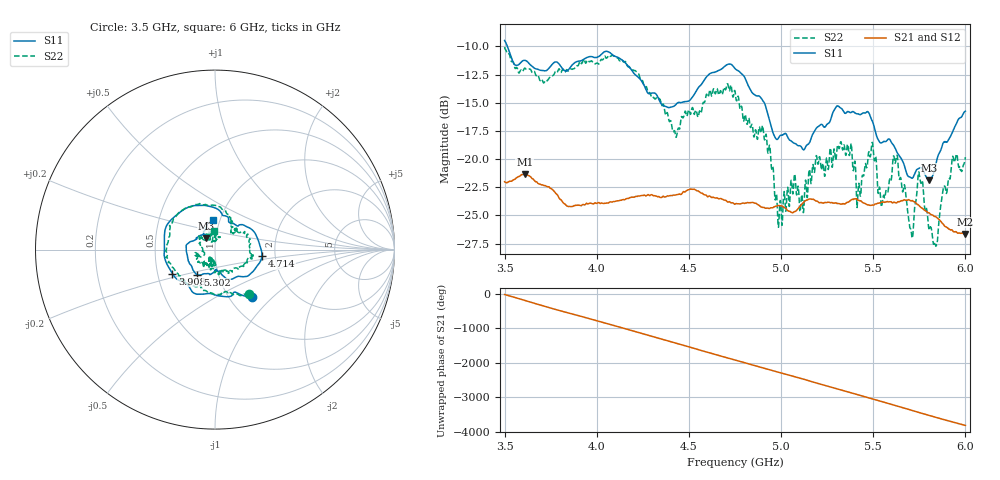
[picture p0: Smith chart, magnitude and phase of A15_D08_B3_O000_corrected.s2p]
! Created with skrf 1.9.0 (http://scikit-rf.org).
# Hz S RI R 50.0
!freq ReS11 ImS11 ReS21 ImS21 ReS12 ImS12 ReS22 ImS22
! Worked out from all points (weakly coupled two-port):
!   1601 points, 3.5 GHz to 6 GHz, reference 50 ohm
!   highest |S21| = -21.33 dB at 3.609 GHz (marker M1); lowest = -26.7 dB at 5.997 GHz (marker M2)
!   lowest |S11| = -21.9 dB at 5.803 GHz (marker M3), VSWR 1.17, Z = 45 + j5.76 ohm
!   |S11| at or under -10 dB: 3.515 GHz to end of sweep
!   |S22| runs from -27.7 to -10.1 dB; largest |S21 - S12| = 0.0011
!   S11 on the Smith chart (normalised r, x): 3.5 GHz: 1.26, -0.76; 3.908 GHz: 0.60, -0.17; 4.714 GHz: 1.70, -0.13; 5.302 GHz: 0.79, -0.23; 6 GHz: 0.93, +0.31
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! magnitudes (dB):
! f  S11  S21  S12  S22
! 3.5 GHz  -9.5  -22.0  -22.0  -10.1
! 3.609 GHz  -11.2  -21.3  -21.3  -11.9
! 3.908 GHz  -11.3  -24.1  -24.1  -11.4
! 3.917 GHz  -11.3  -24.1  -24.1  -11.5
! 4.334 GHz  -14.6  -23.3  -23.3  -14.6
! 4.425 GHz  -15.2  -23.2  -23.2  -17.7
! 4.714 GHz  -11.6  -23.8  -23.8  -13.6
! 4.75 GHz  -12.0  -24.0  -23.9  -14.0
! 4.909 GHz  -15.0  -24.3  -24.3  -18.3
! 4.994 GHz  -17.9  -24.1  -24.1  -23.9
! 5.167 GHz  -18.0  -23.6  -23.5  -21.4
! 5.302 GHz  -15.3  -23.9  -23.9  -19.5
! 5.42 GHz  -16.0  -23.7  -23.7  -22.3
! 5.584 GHz  -18.2  -23.8  -23.8  -22.4
! 5.622 GHz  -19.1  -23.9  -23.9  -20.2
! 5.706 GHz  -21.7  -23.7  -23.7  -26.5
! 5.755 GHz  -20.8  -24.2  -24.2  -21.9
! 5.803 GHz  -21.9  -24.8  -24.8  -26.2
! 5.838 GHz  -20.6  -25.1  -25.1  -27.5
! 5.938 GHz  -17.3  -26.5  -26.5  -20.1
! 5.997 GHz  -15.8  -26.7  -26.6  -20.1
! 6 GHz  -15.8  -26.7  -26.6  -19.8
